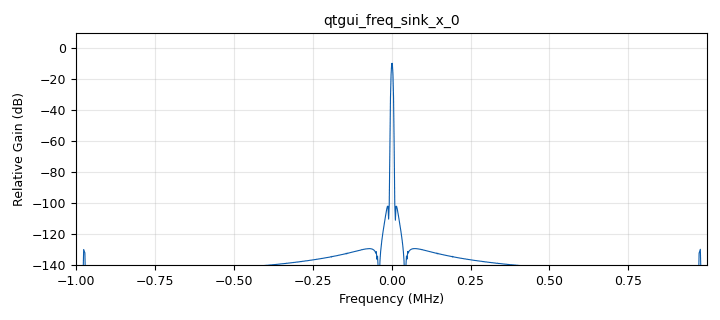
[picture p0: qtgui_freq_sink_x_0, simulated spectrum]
options:
  parameters:
    author: anton
    generate_options: qt_gui
    id: hackrf_test
    output_language: python
    title: hack rf test
  states: {}

blocks:
- name: samp_rate
  id: variable
  parameters:
    value: '2000000'
  states: {}
- name: analog_sig_source_x_0
  id: analog_sig_source_x
  parameters:
    amp: '1'
    freq: '1000'
    offset: '0'
    phase: '0'
    samp_rate: samp_rate
    type: complex
    waveform: analog.GR_COS_WAVE
  states: {}
- name: osmosdr_sink_0
  id: osmosdr_sink
  parameters:
    args: hackrf
    bb_gain0: '50'
    freq0: 435.1e6
    gain0: '50'
    if_gain0: '50'
    sample_rate: samp_rate
    sync: sync
    type: fc32
  states: {}
- name: qtgui_freq_sink_x_0
  id: qtgui_freq_sink_x
  parameters:
    bw: samp_rate
    fc: '0'
    fftsize: '1024'
    type: complex
    wintype: firdes.WIN_BLACKMAN_hARRIS
  states: {}

connections:
- [analog_sig_source_x_0, '0', osmosdr_sink_0, '0']
- [analog_sig_source_x_0, '0', qtgui_freq_sink_x_0, '0']

metadata:
  file_format: 1
